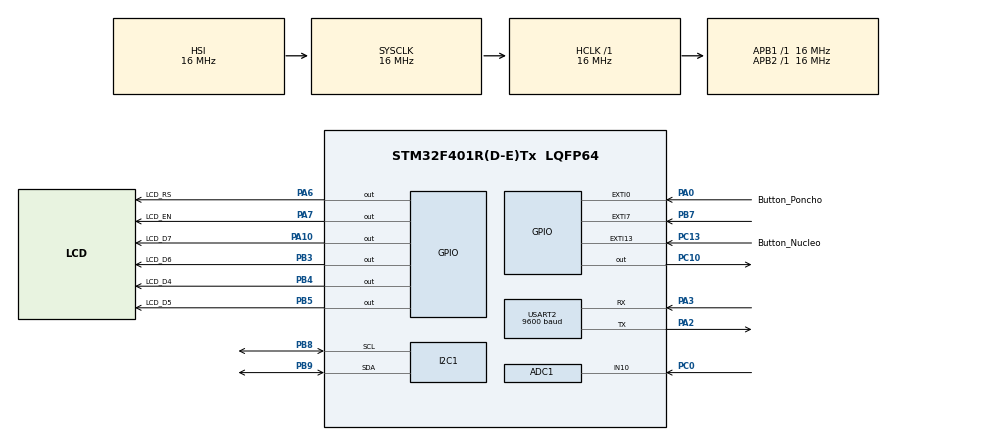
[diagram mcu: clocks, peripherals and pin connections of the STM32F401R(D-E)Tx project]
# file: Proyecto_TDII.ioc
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ADC1.Channel-0\#ChannelRegularConversion=ADC_CHANNEL_10
ADC1.ExternalTrigConv=ADC_EXTERNALTRIGCONV_T2_TRGO
ADC1.NbrOfConversionFlag=1
ADC1.Rank-0\#ChannelRegularConversion=1
ADC1.SamplingTime-0\#ChannelRegularConversion=ADC_SAMPLETIME_480CYCLES
ADC1.master=1
I2C1.I2C_Mode=I2C_Fast
Mcu.Family=STM32F4
Mcu.Name=STM32F401R(D-E)Tx
Mcu.Package=LQFP64
NVIC.ADC_IRQn=true\:5\:0\:true\:false\:true\:true\:true
NVIC.EXTI0_IRQn=true\:5\:0\:true\:false\:true\:true\:true
NVIC.EXTI15_10_IRQn=true\:5\:0\:true\:false\:true\:true\:true
NVIC.EXTI9_5_IRQn=true\:5\:0\:true\:false\:true\:true\:true
NVIC.PriorityGroup=NVIC_PRIORITYGROUP_4
NVIC.TIM1_UP_TIM10_IRQn=true\:0\:0\:false\:false\:true\:false\:true
NVIC.TimeBase=TIM1_UP_TIM10_IRQn
NVIC.TimeBaseIP=TIM1
NVIC.USART2_IRQn=true\:5\:0\:true\:false\:true\:true\:true
PA0-WKUP.GPIO_Label=Button_Poncho
PA0-WKUP.GPIO_ModeDefaultEXTI=GPIO_MODE_IT_RISING
PA0-WKUP.GPIO_PuPd=GPIO_PULLUP
PA0-WKUP.Signal=GPXTI0
PA10.GPIO_Label=LCD_D7
PA10.Signal=GPIO_Output
PA13.Mode=Serial_Wire
PA13.Signal=SYS_JTMS-SWDIO
PA14.Mode=Serial_Wire
PA14.Signal=SYS_JTCK-SWCLK
PA2.Mode=Asynchronous
PA2.Signal=USART2_TX
PA3.Mode=Asynchronous
PA3.Signal=USART2_RX
PA6.GPIO_Label=LCD_RS
PA6.Signal=GPIO_Output
PA7.GPIO_Label=LCD_EN
PA7.Signal=GPIO_Output
PB3.GPIO_Label=LCD_D6
PB3.Signal=GPIO_Output
PB4.GPIO_Label=LCD_D4
PB4.Signal=GPIO_Output
PB5.GPIO_Label=LCD_D5
PB5.Signal=GPIO_Output
PB7.GPIO_ModeDefaultEXTI=GPIO_MODE_IT_FALLING
PB7.GPIO_PuPd=GPIO_PULLUP
PB7.Signal=GPXTI7
PB8.Mode=I2C
PB8.Signal=I2C1_SCL
PB9.Mode=I2C
PB9.Signal=I2C1_SDA
PC0.Signal=ADCx_IN10
PC10.Signal=GPIO_Output
PC13-ANTI_TAMP.GPIO_Label=Button_Nucleo
PC13-ANTI_TAMP.GPIO_ModeDefaultEXTI=GPIO_MODE_IT_RISING
PC13-ANTI_TAMP.GPIO_PuPd=GPIO_PULLUP
PC13-ANTI_TAMP.Signal=GPXTI13
ProjectManager.HeapSize=0x200
ProjectManager.StackSize=0x400
ProjectManager.TargetToolchain=STM32CubeIDE
RCC.AHBFreq_Value=16000000
RCC.APB1Freq_Value=16000000
RCC.APB2Freq_Value=16000000
RCC.CortexFreq_Value=16000000
RCC.HSE_VALUE=25000000
RCC.HSI_VALUE=16000000
RCC.LSE_VALUE=32768
RCC.SYSCLKFreq_VALUE=16000000
RCC.VCOOutputFreq_Value=192000000
SH.ADCx_IN10.0=ADC1_IN10,IN10
TIM2.Channel-Output\ Compare1\ No\ Output=TIM_CHANNEL_1
TIM2.OCMode_1=TIM_OCMODE_TIMING
TIM2.Period=800000-1
TIM2.TIM_MasterOutputTrigger=TIM_TRGO_UPDATE
USART2.BaudRate=9600
USART2.VirtualMode=VM_ASYNC
VP_SYS_VS_tim1.Mode=TIM1
VP_TIM2_VS_ClockSourceINT.Mode=Internal
VP_TIM2_VS_no_output1.Mode=Output Compare1 No Output
board=custom

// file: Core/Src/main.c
/* USER CODE BEGIN Header */
/**
  ******************************************************************************
  * @file           : main.c
  * @brief          : Main program body
  ******************************************************************************
  * @attention
  *
  * <h2><center>&copy; Copyright (c) 2021 STMicroelectronics.
  * All rights reserved.</center></h2>
  *
  * This software component is licensed by ST under BSD 3-Clause license,
  * the "License"; You may not use this file except in compliance with the
  * License. You may obtain a copy of the License at:
  *                        opensource.org/licenses/BSD-3-Clause
  *
  ******************************************************************************
  */
/* USER CODE END Header */
#include "main.h"

/* USER CODE BEGIN Includes */
#include "max30100_for_stm32_hal.h"
#include "FreeRTOS.h"
#include "task.h"
#include "task_app.h"
#include "semphr.h"
#include "HD44780.h"

/* USER CODE END Includes */

ADC_HandleTypeDef hadc1;

I2C_HandleTypeDef hi2c1;

TIM_HandleTypeDef htim2;

UART_HandleTypeDef huart2;

void SystemClock_Config(void);
static void MX_GPIO_Init(void);
static void MX_ADC1_Init(void);
static void MX_I2C1_Init(void);
static void MX_USART2_UART_Init(void);
static void MX_TIM2_Init(void);
/* USER CODE BEGIN PFP */

TaskHandle_t TaskHearthandler, TaskTemphandler,TaskAdcTaskhandler,TaskI2Chandler;

TIM_HandleTypeDef htim2;

xQueueHandle  xQueueADC, xQueue_teclas, xQueue_lcd, xQueue_lcd_p ;

xSemaphoreHandle xSemNucleo, xSemPoncho, xSemSensor;

HD44780 lcd = {
	   .rs_gpio = GPIOA,
	  // .rw_gpio = LCD_RW_GPIO_Port,
	   .en_gpio = GPIOA,
	   .d4_gpio = GPIOB,
	   .d5_gpio = GPIOB,
	   .d6_gpio = GPIOB,
	   .d7_gpio = GPIOA,
	   .rs_pin = LCD_RS_Pin,
	   //.rw_pin = LCD_RW_Pin,
	   .en_pin = LCD_EN_Pin,
	   .d4_pin = LCD_D4_Pin,
	   .d5_pin = LCD_D5_Pin,
	   .d6_pin = LCD_D6_Pin,
	   .d7_pin = LCD_D7_Pin,
};

/* USER CODE END PFP */

/* USER CODE BEGIN 0 */
extern void initialise_monitor_handles(void);
/* USER CODE END 0 */

int main(void)
{

  /* MCU Configuration--------------------------------------------------------*/

  /* Reset of all peripherals, Initializes the Flash interface and the Systick. */
  HAL_Init();

  /* Configure the system clock */
  SystemClock_Config();

  /* Initialize all configured peripherals */
  MX_GPIO_Init();
  MX_ADC1_Init();
  MX_I2C1_Init();
  MX_USART2_UART_Init();
  MX_TIM2_Init();
  /* USER CODE BEGIN 2 */
	MAX30100_Init(&hi2c1, &huart2);

   initialise_monitor_handles();

   HD44780_init(&lcd);
   HD44780_put_str(&lcd, "SWP:Lector Pulso");
   HD44780_cursor_to(&lcd, 0, 1);
   HD44780_put_str(&lcd, "SWN:Lector Temp");

    xQueue_lcd = xQueueCreate( 1, sizeof( int ) );
    xQueue_lcd_p = xQueueCreate( 1, sizeof( char ) );
   	xQueue_teclas = xQueueCreate( 1, sizeof( uint8_t ) );
    xQueueADC = xQueueCreate( 1, sizeof(uint16_t));

    xSemNucleo=xSemaphoreCreateBinary();
    xSemPoncho=xSemaphoreCreateBinary();
    xSemSensor=xSemaphoreCreateBinary();

	xTaskCreate(		xLcdTask,		/* Pointer to the function that implements the task. */
						"GateKeeperTask",	/* Text name for the task.  This is to facilitate debugging only. */
						configMINIMAL_STACK_SIZE,		/* Stack depth in words. */
						NULL,		/* We are  not using the task parameter. */
						3,			/* This task will run at priority 1. */
						NULL );		/* We are not using the task handle. */

	xTaskCreate(		vTaskControl,		/* Pointer to the function that implements the task. */
						"Productor",	/* Text name for the task.  This is to facilitate debugging only. */
						configMINIMAL_STACK_SIZE,		/* Stack depth in words. */
						NULL,		/* We are  using the task parameter. */
						1,			/* This task will run at priority 1. */
						NULL );		/* We are not using the task handle. */

	xTaskCreate(		vSenderTask_Temp,		/* Pointer to the function that implements the task. */
						"Productor",	/* Text name for the task.  This is to facilitate debugging only. */
						configMINIMAL_STACK_SIZE,		/* Stack depth in words. */
						NULL,		/* We are  using the task parameter. */
						1,			/* This task will run at priority 1. */
						&TaskTemphandler );		/* We are not using the task handle. */

  	xTaskCreate(		vSenderTask_Heart,		/* Pointer to the function that implements the task. */
  						"Task 1",	/* Text name for the task.  This is to facilitate debugging only. */
						configMINIMAL_STACK_SIZE,		/* Stack depth in words. */
						NULL,		/* We are  using the task parameter. */
  						1,			/* This task will run at priority 1. */
						&TaskHearthandler );		/* We are using the task handle. */

  	xTaskCreate(		xAdcTask,		/* Pointer to the function that implements the task. */
  	  					"Adc",	/* Text name for the task.  This is to facilitate debugging only. */
  	  					240,		/* Stack depth in words. */
  	  					NULL,		/* We are  not using the task parameter. */
  	  					2,			/* This task will run at priority 2. */
  	  					&TaskAdcTaskhandler );		/* We are not using the task handle. */

  	xTaskCreate(		xPulsoTask,		/* Pointer to the function that implements the task. */
  	  					"I2C",	/* Text name for the task.  This is to facilitate debugging only. */
  	  					240,		/* Stack depth in words. */
  	  					NULL,		/* We are  not using the task parameter. */
  	  					1,			/* This task will run at priority 2. */
  	  					&TaskI2Chandler );		/* We are not using the task handle. */

	/* Start the scheduler so our tasks start executing. */
	vTaskStartScheduler();

  /* USER CODE END 2 */

  /* Infinite loop */
  while (1)
  {

  }
}

void SystemClock_Config(void)
{
  RCC_OscInitTypeDef RCC_OscInitStruct = {0};
  RCC_ClkInitTypeDef RCC_ClkInitStruct = {0};

  /** Configure the main internal regulator output voltage
  */
  __HAL_RCC_PWR_CLK_ENABLE();
  __HAL_PWR_VOLTAGESCALING_CONFIG(PWR_REGULATOR_VOLTAGE_SCALE2);
  /** Initializes the RCC Oscillators according to the specified parameters
  * in the RCC_OscInitTypeDef structure.
  */
  RCC_OscInitStruct.OscillatorType = RCC_OSCILLATORTYPE_HSI;
  RCC_OscInitStruct.HSIState = RCC_HSI_ON;
  RCC_OscInitStruct.HSICalibrationValue = RCC_HSICALIBRATION_DEFAULT;
  RCC_OscInitStruct.PLL.PLLState = RCC_PLL_NONE;
  if (HAL_RCC_OscConfig(&RCC_OscInitStruct) != HAL_OK)
  {
    Error_Handler();
  }
  /** Initializes the CPU, AHB and APB buses clocks
  */
  RCC_ClkInitStruct.ClockType = RCC_CLOCKTYPE_HCLK|RCC_CLOCKTYPE_SYSCLK
                              |RCC_CLOCKTYPE_PCLK1|RCC_CLOCKTYPE_PCLK2;
  RCC_ClkInitStruct.SYSCLKSource = RCC_SYSCLKSOURCE_HSI;
  RCC_ClkInitStruct.AHBCLKDivider = RCC_SYSCLK_DIV1;
  RCC_ClkInitStruct.APB1CLKDivider = RCC_HCLK_DIV1;
  RCC_ClkInitStruct.APB2CLKDivider = RCC_HCLK_DIV1;

  if (HAL_RCC_ClockConfig(&RCC_ClkInitStruct, FLASH_LATENCY_0) != HAL_OK)
  {
    Error_Handler();
  }
}

static void MX_ADC1_Init(void)
{

  ADC_ChannelConfTypeDef sConfig = {0};

  /** Configure the global features of the ADC (Clock, Resolution, Data Alignment and number of conversion)
  */
  hadc1.Instance = ADC1;
  hadc1.Init.ClockPrescaler = ADC_CLOCK_SYNC_PCLK_DIV2;
  hadc1.Init.Resolution = ADC_RESOLUTION_12B;
  hadc1.Init.ScanConvMode = DISABLE;
  hadc1.Init.ContinuousConvMode = DISABLE;
  hadc1.Init.DiscontinuousConvMode = DISABLE;
  hadc1.Init.ExternalTrigConvEdge = ADC_EXTERNALTRIGCONVEDGE_RISING;
  hadc1.Init.ExternalTrigConv = ADC_EXTERNALTRIGCONV_T2_TRGO;
  hadc1.Init.DataAlign = ADC_DATAALIGN_RIGHT;
  hadc1.Init.NbrOfConversion = 1;
  hadc1.Init.DMAContinuousRequests = DISABLE;
  hadc1.Init.EOCSelection = ADC_EOC_SINGLE_CONV;
  if (HAL_ADC_Init(&hadc1) != HAL_OK)
  {
    Error_Handler();
  }
  /** Configure for the selected ADC regular channel its corresponding rank in the sequencer and its sample time.
  */
  sConfig.Channel = ADC_CHANNEL_10;
  sConfig.Rank = 1;
  sConfig.SamplingTime = ADC_SAMPLETIME_480CYCLES;
  if (HAL_ADC_ConfigChannel(&hadc1, &sConfig) != HAL_OK)
  {
    Error_Handler();
  }

}

static void MX_I2C1_Init(void)
{

  hi2c1.Instance = I2C1;
  hi2c1.Init.ClockSpeed = 400000;
  hi2c1.Init.DutyCycle = I2C_DUTYCYCLE_2;
  hi2c1.Init.OwnAddress1 = 0;
  hi2c1.Init.AddressingMode = I2C_ADDRESSINGMODE_7BIT;
  hi2c1.Init.DualAddressMode = I2C_DUALADDRESS_DISABLE;
  hi2c1.Init.OwnAddress2 = 0;
  hi2c1.Init.GeneralCallMode = I2C_GENERALCALL_DISABLE;
  hi2c1.Init.NoStretchMode = I2C_NOSTRETCH_DISABLE;
  if (HAL_I2C_Init(&hi2c1) != HAL_OK)
  {
    Error_Handler();
  }

}

static void MX_TIM2_Init(void)
{

  TIM_ClockConfigTypeDef sClockSourceConfig = {0};
  TIM_MasterConfigTypeDef sMasterConfig = {0};
  TIM_OC_InitTypeDef sConfigOC = {0};

  htim2.Instance = TIM2;
  htim2.Init.Prescaler = 0;
  htim2.Init.CounterMode = TIM_COUNTERMODE_UP;
  htim2.Init.Period = 800000-1;
  htim2.Init.ClockDivision = TIM_CLOCKDIVISION_DIV1;
  htim2.Init.AutoReloadPreload = TIM_AUTORELOAD_PRELOAD_DISABLE;
  if (HAL_TIM_Base_Init(&htim2) != HAL_OK)
  {
    Error_Handler();
  }
  sClockSourceConfig.ClockSource = TIM_CLOCKSOURCE_INTERNAL;
  if (HAL_TIM_ConfigClockSource(&htim2, &sClockSourceConfig) != HAL_OK)
  {
    Error_Handler();
  }
  if (HAL_TIM_OC_Init(&htim2) != HAL_OK)
  {
    Error_Handler();
  }
  sMasterConfig.MasterOutputTrigger = TIM_TRGO_UPDATE;
  sMasterConfig.MasterSlaveMode = TIM_MASTERSLAVEMODE_DISABLE;
  if (HAL_TIMEx_MasterConfigSynchronization(&htim2, &sMasterConfig) != HAL_OK)
  {
    Error_Handler();
  }
  sConfigOC.OCMode = TIM_OCMODE_TIMING;
  sConfigOC.Pulse = 0;
  sConfigOC.OCPolarity = TIM_OCPOLARITY_HIGH;
  sConfigOC.OCFastMode = TIM_OCFAST_DISABLE;
  if (HAL_TIM_OC_ConfigChannel(&htim2, &sConfigOC, TIM_CHANNEL_1) != HAL_OK)
  {
    Error_Handler();
  }

}

static void MX_USART2_UART_Init(void)
{

  huart2.Instance = USART2;
  huart2.Init.BaudRate = 9600;
  huart2.Init.WordLength = UART_WORDLENGTH_8B;
  huart2.Init.StopBits = UART_STOPBITS_1;
  huart2.Init.Parity = UART_PARITY_NONE;
  huart2.Init.Mode = UART_MODE_TX_RX;
  huart2.Init.HwFlowCtl = UART_HWCONTROL_NONE;
  huart2.Init.OverSampling = UART_OVERSAMPLING_16;
  if (HAL_UART_Init(&huart2) != HAL_OK)
  {
    Error_Handler();
  }

}

static void MX_GPIO_Init(void)
{
  GPIO_InitTypeDef GPIO_InitStruct = {0};

  /* GPIO Ports Clock Enable */
  __HAL_RCC_GPIOC_CLK_ENABLE();
  __HAL_RCC_GPIOA_CLK_ENABLE();
  __HAL_RCC_GPIOB_CLK_ENABLE();

  /*Configure GPIO pin Output Level */
  HAL_GPIO_WritePin(GPIOA, LCD_RS_Pin|LCD_EN_Pin|LCD_D7_Pin, GPIO_PIN_RESET);

  /*Configure GPIO pin Output Level */
  HAL_GPIO_WritePin(GPIOC, GPIO_PIN_10, GPIO_PIN_RESET);

  /*Configure GPIO pin Output Level */
  HAL_GPIO_WritePin(GPIOB, LCD_D6_Pin|LCD_D4_Pin|LCD_D5_Pin, GPIO_PIN_RESET);

  /*Configure GPIO pin : Button_Nucleo_Pin */
  GPIO_InitStruct.Pin = Button_Nucleo_Pin;
  GPIO_InitStruct.Mode = GPIO_MODE_IT_RISING;
  GPIO_InitStruct.Pull = GPIO_PULLUP;
  HAL_GPIO_Init(Button_Nucleo_GPIO_Port, &GPIO_InitStruct);

  /*Configure GPIO pin : Button_Poncho_Pin */
  GPIO_InitStruct.Pin = Button_Poncho_Pin;
  GPIO_InitStruct.Mode = GPIO_MODE_IT_RISING;
  GPIO_InitStruct.Pull = GPIO_PULLUP;
  HAL_GPIO_Init(Button_Poncho_GPIO_Port, &GPIO_InitStruct);

  /*Configure GPIO pins : LCD_RS_Pin LCD_EN_Pin LCD_D7_Pin */
  GPIO_InitStruct.Pin = LCD_RS_Pin|LCD_EN_Pin|LCD_D7_Pin;
  GPIO_InitStruct.Mode = GPIO_MODE_OUTPUT_PP;
  GPIO_InitStruct.Pull = GPIO_NOPULL;
  GPIO_InitStruct.Speed = GPIO_SPEED_FREQ_LOW;
  HAL_GPIO_Init(GPIOA, &GPIO_InitStruct);

  /*Configure GPIO pin : PC10 */
  GPIO_InitStruct.Pin = GPIO_PIN_10;
  GPIO_InitStruct.Mode = GPIO_MODE_OUTPUT_PP;
  GPIO_InitStruct.Pull = GPIO_NOPULL;
  GPIO_InitStruct.Speed = GPIO_SPEED_FREQ_LOW;
  HAL_GPIO_Init(GPIOC, &GPIO_InitStruct);

  /*Configure GPIO pins : LCD_D6_Pin LCD_D4_Pin LCD_D5_Pin */
  GPIO_InitStruct.Pin = LCD_D6_Pin|LCD_D4_Pin|LCD_D5_Pin;
  GPIO_InitStruct.Mode = GPIO_MODE_OUTPUT_PP;
  GPIO_InitStruct.Pull = GPIO_NOPULL;
  GPIO_InitStruct.Speed = GPIO_SPEED_FREQ_LOW;
  HAL_GPIO_Init(GPIOB, &GPIO_InitStruct);

  /*Configure GPIO pin : PB7 */
  GPIO_InitStruct.Pin = GPIO_PIN_7;
  GPIO_InitStruct.Mode = GPIO_MODE_IT_FALLING;
  GPIO_InitStruct.Pull = GPIO_PULLUP;
  HAL_GPIO_Init(GPIOB, &GPIO_InitStruct);

  /* EXTI interrupt init*/
  HAL_NVIC_SetPriority(EXTI0_IRQn, 5, 0);
  HAL_NVIC_EnableIRQ(EXTI0_IRQn);

  HAL_NVIC_SetPriority(EXTI9_5_IRQn, 5, 0);
  HAL_NVIC_EnableIRQ(EXTI9_5_IRQn);

  HAL_NVIC_SetPriority(EXTI15_10_IRQn, 5, 0);
  HAL_NVIC_EnableIRQ(EXTI15_10_IRQn);

}

 /**
  * @brief  Period elapsed callback in non blocking mode
  * @note   This function is called  when TIM1 interrupt took place, inside
  * HAL_TIM_IRQHandler(). It makes a direct call to HAL_IncTick() to increment
  * a global variable "uwTick" used as application time base.
  * @param  htim : TIM handle
  * @retval None
  */
void HAL_TIM_PeriodElapsedCallback(TIM_HandleTypeDef *htim)
{
  if (htim->Instance == TIM1) {
    HAL_IncTick();
  }
}

void Error_Handler(void)
{
  __disable_irq();
  while (1)
  {
  }
}

/************************ (C) COPYRIGHT STMicroelectronics *****END OF FILE****/
